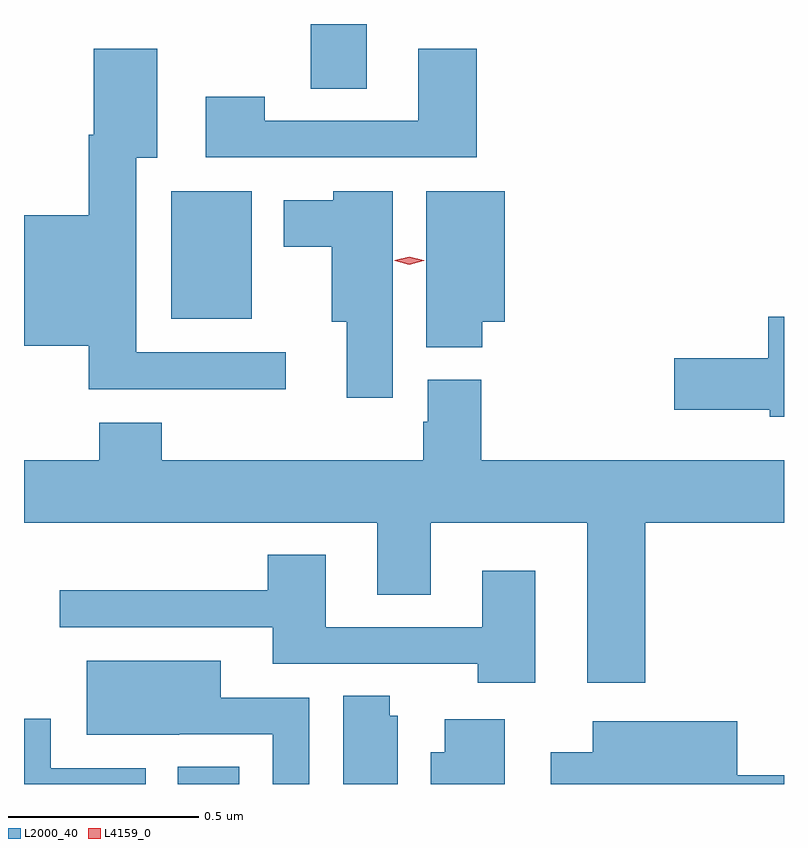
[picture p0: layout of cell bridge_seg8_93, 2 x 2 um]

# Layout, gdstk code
import gdstk
lib = gdstk.Library(unit=1e-6, precision=1e-09)
def R(c, l, rs):  # rectangles x0, y0, x1, y1
    for r in rs: c.add(gdstk.rectangle(r[:2], r[2:], *l))
def P(c, l, *ps):  # polygons
    for p in ps: c.add(gdstk.Polygon(p, *l))
L2000_40 = (2000, 40)
L4159_0 = (4159, 0)

bridge_seg8_93 = lib.new_cell('bridge_seg8_93')
R(bridge_seg8_93, L2000_40, [(648.212,1113.148,648.373,1113.193), (648.194,1114.373,648.406,1114.708), (648.562,1114.978,648.709,1115.148)])
P(bridge_seg8_93, L2000_40, [(648.998,1115.083),(648.845,1115.083),(648.845,1114.893),(648.441,1114.893),(648.441,1114.957),(648.285,1114.957),(648.285,1114.797),(648.998,1114.797)],
  [(648.496,1114.284),(648.103,1114.284),(648.103,1114.796),(648.157,1114.796),(648.157,1115.083),(647.99,1115.083),(647.99,1114.856),(647.978,1114.856),(647.978,1114.645),(647.807,1114.645),(647.807,1114.301),(647.978,1114.301),(647.978,1114.187),(648.496,1114.187)],
  [(648.778,1114.708),(648.621,1114.708),(648.621,1114.684),(648.491,1114.684),(648.491,1114.562),(648.617,1114.562),(648.617,1114.364),(648.656,1114.364),(648.656,1114.164),(648.778,1114.164)],
  [(649.013,1114.364),(649.072,1114.364),(649.072,1114.708),(648.866,1114.708),(648.866,1114.297),(649.013,1114.297)],
  [(649.807,1114.378),(649.766,1114.378),(649.766,1114.268),(649.518,1114.268),(649.518,1114.133),(649.77,1114.133),(649.77,1114.115),(649.807,1114.115)],
  [(649.442,1113.836),(649.807,1113.836),(649.807,1114),(649.01,1114),(649.01,1114.212),(648.869,1114.212),(648.869,1114.101),(648.857,1114.101),(648.857,1114),(648.17,1114),(648.17,1114.099),(648.005,1114.099),(648.005,1114),(647.807,1114),(647.807,1113.836),(648.737,1113.836),(648.737,1113.646),(648.877,1113.646),(648.877,1113.836),(649.289,1113.836),(649.289,1113.414),(649.442,1113.414)],
  [(649.153,1113.709),(649.013,1113.709),(649.013,1113.561),(648.601,1113.561),(648.601,1113.751),(648.449,1113.751),(648.449,1113.658),(647.901,1113.658),(647.901,1113.561),(648.461,1113.561),(648.461,1113.465),(649.001,1113.465),(649.001,1113.414),(649.153,1113.414)],
  [(648.558,1113.375),(648.325,1113.375),(648.325,1113.472),(647.972,1113.472),(647.972,1113.278),(648.216,1113.278),(648.216,1113.279),(648.462,1113.279),(648.462,1113.148),(648.558,1113.148)],
  [(648.79,1113.327),(648.769,1113.327),(648.769,1113.38),(648.647,1113.38),(648.647,1113.148),(648.79,1113.148)],
  [(648.127,1113.19),(647.878,1113.19),(647.878,1113.32),(647.807,1113.32),(647.807,1113.148),(648.127,1113.148)],
  [(649.072,1113.319),(648.914,1113.319),(648.914,1113.232),(648.878,1113.232),(648.878,1113.148),(649.072,1113.148)],
  [(649.807,1113.171),(649.684,1113.171),(649.684,1113.313),(649.304,1113.313),(649.304,1113.232),(649.193,1113.232),(649.193,1113.148),(649.807,1113.148)])
P(bridge_seg8_93, L4159_0, [(648.821,1114.515),(648.783,1114.525),(648.783,1114.525),(648.783,1114.526),(648.821,1114.535),(648.859,1114.526),(648.86,1114.525),(648.859,1114.525)])

lib.write_gds('bridge_seg8_93.gds')
